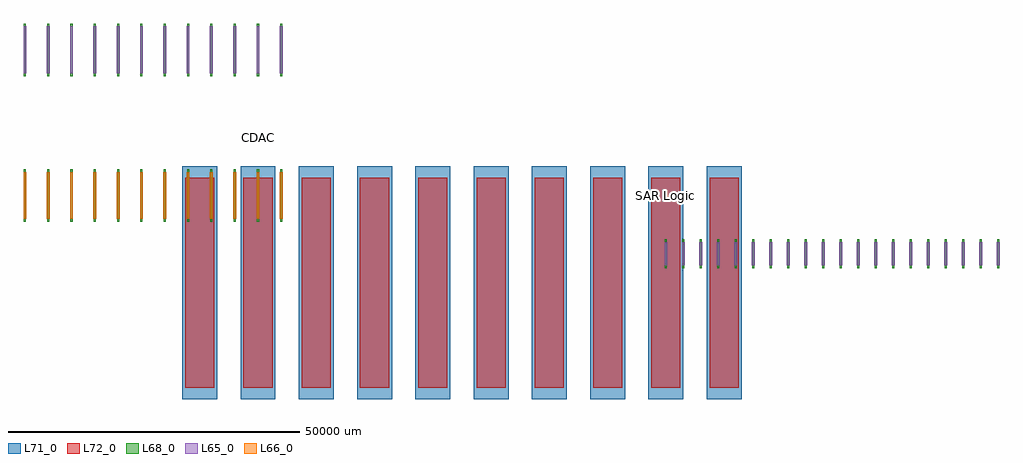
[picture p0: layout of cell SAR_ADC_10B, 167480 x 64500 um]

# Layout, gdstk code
import gdstk
lib = gdstk.Library(unit=1e-6, precision=1e-09)
def R(c, l, rs):  # rectangles x0, y0, x1, y1
    for r in rs: c.add(gdstk.rectangle(r[:2], r[2:], *l))
def A(c, l, x, y, w, h, nx, ny, dx, dy):  # array of equal rectangles
    R(c, l, [(x+i*dx, y+j*dy, x+i*dx+w, y+j*dy+h) for i in range(nx) for j in range(ny)])
L65_0 = (65, 0)
L66_0 = (66, 0)
L68_0 = (68, 0)
L71_0 = (71, 0)
L72_0 = (72, 0)

sar_adc_10b = lib.new_cell('SAR_ADC_10B')
A(sar_adc_10b, L65_0, 49760, 3000, 480, 4000, 20, 1, 3000, 0)
A(sar_adc_10b, L65_0, -60240, 36000, 480, 8000, 12, 1, 4000, 0)
A(sar_adc_10b, L66_0, -60240, 11000, 480, 8000, 12, 1, 4000, 0)
A(sar_adc_10b, L68_0, 49820, 2500, 360, 5000, 20, 1, 3000, 0)
A(sar_adc_10b, L68_0, -60180, 10500, 360, 9000, 12, 2, 4000, 25000)
A(sar_adc_10b, L71_0, -33000, -20000, 6000, 40000, 10, 1, 10000, 0)
A(sar_adc_10b, L72_0, -32500, -18000, 5000, 36000, 10, 1, 10000, 0)
sar_adc_10b.add(gdstk.Label('SAR ADC 10b 9.6ENOB', (-90000,60000), layer=71, texttype=0))
sar_adc_10b.add(gdstk.Label('Comp', (-60000,55000), layer=71, texttype=0))
sar_adc_10b.add(gdstk.Label('CDAC', (-20000,25000), layer=71, texttype=0))
sar_adc_10b.add(gdstk.Label('SAR Logic', (50000,15000), layer=71, texttype=0))

lib.write_gds('SAR_ADC_10B.gds')
